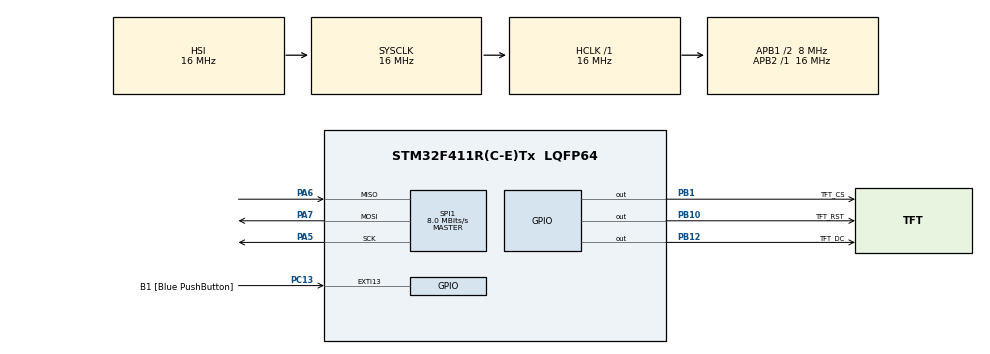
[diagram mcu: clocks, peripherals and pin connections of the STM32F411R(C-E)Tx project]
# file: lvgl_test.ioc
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Mcu.Family=STM32F4
Mcu.Name=STM32F411R(C-E)Tx
Mcu.Package=LQFP64
NVIC.PriorityGroup=NVIC_PRIORITYGROUP_0
PA13.GPIO_Label=TMS
PA13.Mode=Serial_Wire
PA13.Signal=SYS_JTMS-SWDIO
PA14.GPIO_Label=TCK
PA14.Mode=Serial_Wire
PA14.Signal=SYS_JTCK-SWCLK
PA2.GPIO_Label=USART_TX
PA2.Signal=USART2_TX
PA3.GPIO_Label=USART_RX
PA3.Signal=USART2_RX
PA5.Mode=Full_Duplex_Master
PA5.Signal=SPI1_SCK
PA6.Mode=Full_Duplex_Master
PA6.Signal=SPI1_MISO
PA7.Mode=Full_Duplex_Master
PA7.Signal=SPI1_MOSI
PB1.GPIO_Label=TFT_CS
PB1.Signal=GPIO_Output
PB10.GPIO_Label=TFT_RST
PB10.Signal=GPIO_Output
PB12.GPIO_Label=TFT_DC
PB12.Signal=GPIO_Output
PB3.GPIO_Label=SWO
PB3.Signal=SYS_JTDO-SWO
PC13-ANTI_TAMP.GPIO_Label=B1 [Blue PushButton]
PC13-ANTI_TAMP.GPIO_ModeDefaultEXTI=GPIO_MODE_IT_FALLING
PC13-ANTI_TAMP.Signal=GPXTI13
PC14-OSC32_IN.Mode=LSE-External-Oscillator
PC14-OSC32_IN.Signal=RCC_OSC32_IN
PC15-OSC32_OUT.Mode=LSE-External-Oscillator
PC15-OSC32_OUT.Signal=RCC_OSC32_OUT
PH0\ -\ OSC_IN.Mode=HSE-External-Clock-Source
PH0\ -\ OSC_IN.Signal=RCC_OSC_IN
PH1\ -\ OSC_OUT.Mode=HSE-External-Clock-Source
PH1\ -\ OSC_OUT.Signal=RCC_OSC_OUT
ProjectManager.HeapSize=0x200
ProjectManager.StackSize=0x400
ProjectManager.TargetToolchain=MDK-ARM V5.27
RCC.48MHZClocksFreq_Value=168000000
RCC.AHBFreq_Value=16000000
RCC.APB1CLKDivider=RCC_HCLK_DIV2
RCC.APB1Freq_Value=8000000
RCC.APB1TimFreq_Value=16000000
RCC.APB2Freq_Value=16000000
RCC.APB2TimFreq_Value=16000000
RCC.CortexFreq_Value=16000000
RCC.FLatency-AdvancedSettings=FLASH_LATENCY_0
RCC.HCLKFreq_Value=16000000
RCC.HSE_VALUE=8000000
RCC.HSI_VALUE=16000000
RCC.PLLM=4
RCC.PLLN=336
RCC.PLLP=RCC_PLLP_DIV4
RCC.PLLSourceVirtual=RCC_PLLSOURCE_HSE
RCC.SYSCLKFreq_VALUE=16000000
RCC.VCOOutputFreq_Value=672000000
SPI1.BaudRatePrescaler=SPI_BAUDRATEPRESCALER_2
SPI1.CalculateBaudRate=8.0 MBits/s
SPI1.Direction=SPI_DIRECTION_2LINES
SPI1.Mode=SPI_MODE_MASTER
SPI1.VirtualType=VM_MASTER
board=NUCLEO-F411RE

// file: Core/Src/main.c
/* USER CODE BEGIN Header */
/**
  ******************************************************************************
  * @file           : main.c
  * @brief          : Main program body
  ******************************************************************************
  * @attention
  *
  * <h2><center>&copy; Copyright (c) 2021 STMicroelectronics.
  * All rights reserved.</center></h2>
  *
  * This software component is licensed by ST under BSD 3-Clause license,
  * the "License"; You may not use this file except in compliance with the
  * License. You may obtain a copy of the License at:
  *                        opensource.org/licenses/BSD-3-Clause
  *
  ******************************************************************************
  */
/* USER CODE END Header */
#include "main.h"

/* USER CODE BEGIN Includes */
#include "lvgl.h"
//#include "lv_examples.h"
#include "ILI9341_GFX.h"
/* USER CODE END Includes */

/* USER CODE BEGIN PD */
//#define LV_USE_LABEL 1
/*Hor, or ver. scroll speed [px/sec] in 'LV_LABEL_LONG_ROLL/ROLL_CIRC' mode*/

/* USER CODE END PD */

SPI_HandleTypeDef hspi1;

void SystemClock_Config(void);
static void MX_GPIO_Init(void);
static void MX_SPI1_Init(void);

/* USER CODE BEGIN 0 */
static lv_disp_buf_t disp_buf;
static lv_color_t buf[LV_HOR_RES_MAX * LV_VER_RES_MAX / 2];
static lv_obj_t * label;
static void btn_event_cb(lv_obj_t * btn, lv_event_t event)
{
    if(event == LV_EVENT_CLICKED) {}
}

void lv_ex_get_started_1(void)
{
  lv_obj_t * btn = lv_btn_create(lv_scr_act(), NULL); 	/*Add a button the current screen*/
	lv_obj_align(btn, NULL, LV_ALIGN_CENTER, 0, 0);                         /*Set its position*/
  lv_obj_set_size(btn, 120, 50);
	//lv_obj_set_event_cb(btn, btn_event_cb);								/*Assign a callback to the button*/

	lv_obj_t * label = lv_label_create(btn, NULL);
	lv_label_set_text(label, "Button");
	/*
	lv_obj_set_auto_realign(btn, true);
	lv_obj_align(label, btn, LV_ALIGN_CENTER, 0, 0);
	*/
}
static void slider_event_cb(lv_obj_t * slider, lv_event_t event)
{
    if(event == LV_EVENT_VALUE_CHANGED) {
        /*Refresh the text*/
        lv_label_set_text_fmt(label, "%d", lv_slider_get_value(slider));
    }
}

void lv_ex_get_started_3(void)
{
    /* Create a slider in the center of the display */
    lv_obj_t * slider = lv_slider_create(lv_scr_act(), NULL);
    lv_obj_set_width(slider, 200);                        /*Set the width*/
    lv_obj_align(slider, NULL, LV_ALIGN_CENTER, 0, 0);    /*Align to the center of the parent (screen)*/
    //lv_obj_set_event_cb(slider, slider_event_cb);         /*Assign an event function*/

    /* Create a label below the slider */
    label = lv_label_create(lv_scr_act(), NULL);
    lv_label_set_text_fmt(label, "%d", 74);
    lv_obj_set_auto_realign(slider, true);                          /*To keep center alignment when the width of the text changes*/
    lv_obj_align(label, slider, LV_ALIGN_OUT_BOTTOM_MID, 0, 20);    /*Align below the slider*/
}
void my_disp_flush(lv_disp_drv_t * disp, const lv_area_t * area, lv_color_t * color_p)
{
    int32_t x, y;

    for(y = area->y1; y <= area->y2; y++) {
        for(x = area->x1; x <= area->x2; x++) {
            ILI9341_Draw_Pixel(x, y, color_p->full);  // Put a pixel to the display
            color_p++;
        }
    }
    lv_disp_flush_ready(disp);         /* Indicate you are ready with the flushing*/
}

void lv_user_init(void) {
	lv_init();

	lv_disp_buf_init(&disp_buf, buf, NULL, LV_HOR_RES_MAX * LV_VER_RES_MAX / 2);
	lv_disp_drv_t disp_drv;
	lv_disp_drv_init(&disp_drv);
	disp_drv.flush_cb = my_disp_flush;
	disp_drv.buffer = &disp_buf;
	lv_disp_drv_register(&disp_drv);

	lv_ex_get_started_1();

}
/* USER CODE END 0 */

int main(void)
{

  /* MCU Configuration--------------------------------------------------------*/

  /* Reset of all peripherals, Initializes the Flash interface and the Systick. */
  HAL_Init();

  /* Configure the system clock */
  SystemClock_Config();

  /* Initialize all configured peripherals */
  MX_GPIO_Init();
  MX_SPI1_Init();
  /* USER CODE BEGIN 2 */
	__HAL_SPI_ENABLE(DISP_SPI_PTR);
	ILI9341_Init();
  ILI9341_Set_Rotation(SCREEN_HORIZONTAL_2);

	lv_user_init();

  /* Infinite loop */
  /* USER CODE BEGIN WHILE */
  while (1)
  {
		lv_task_handler();
		HAL_Delay(5);

    /* USER CODE END WHILE */

  }
}

void SystemClock_Config(void)
{
  RCC_OscInitTypeDef RCC_OscInitStruct = {0};
  RCC_ClkInitTypeDef RCC_ClkInitStruct = {0};

  /** Configure the main internal regulator output voltage
  */
  __HAL_RCC_PWR_CLK_ENABLE();
  __HAL_PWR_VOLTAGESCALING_CONFIG(PWR_REGULATOR_VOLTAGE_SCALE1);
  /** Initializes the RCC Oscillators according to the specified parameters
  * in the RCC_OscInitTypeDef structure.
  */
  RCC_OscInitStruct.OscillatorType = RCC_OSCILLATORTYPE_HSI;
  RCC_OscInitStruct.HSIState = RCC_HSI_ON;
  RCC_OscInitStruct.HSICalibrationValue = RCC_HSICALIBRATION_DEFAULT;
  RCC_OscInitStruct.PLL.PLLState = RCC_PLL_NONE;
  if (HAL_RCC_OscConfig(&RCC_OscInitStruct) != HAL_OK)
  {
    Error_Handler();
  }
  /** Initializes the CPU, AHB and APB buses clocks
  */
  RCC_ClkInitStruct.ClockType = RCC_CLOCKTYPE_HCLK|RCC_CLOCKTYPE_SYSCLK
                              |RCC_CLOCKTYPE_PCLK1|RCC_CLOCKTYPE_PCLK2;
  RCC_ClkInitStruct.SYSCLKSource = RCC_SYSCLKSOURCE_HSI;
  RCC_ClkInitStruct.AHBCLKDivider = RCC_SYSCLK_DIV1;
  RCC_ClkInitStruct.APB1CLKDivider = RCC_HCLK_DIV2;
  RCC_ClkInitStruct.APB2CLKDivider = RCC_HCLK_DIV1;

  if (HAL_RCC_ClockConfig(&RCC_ClkInitStruct, FLASH_LATENCY_0) != HAL_OK)
  {
    Error_Handler();
  }
}

static void MX_SPI1_Init(void)
{

  /* SPI1 parameter configuration*/
  hspi1.Instance = SPI1;
  hspi1.Init.Mode = SPI_MODE_MASTER;
  hspi1.Init.Direction = SPI_DIRECTION_2LINES;
  hspi1.Init.DataSize = SPI_DATASIZE_8BIT;
  hspi1.Init.CLKPolarity = SPI_POLARITY_LOW;
  hspi1.Init.CLKPhase = SPI_PHASE_1EDGE;
  hspi1.Init.NSS = SPI_NSS_SOFT;
  hspi1.Init.BaudRatePrescaler = SPI_BAUDRATEPRESCALER_2;
  hspi1.Init.FirstBit = SPI_FIRSTBIT_MSB;
  hspi1.Init.TIMode = SPI_TIMODE_DISABLE;
  hspi1.Init.CRCCalculation = SPI_CRCCALCULATION_DISABLE;
  hspi1.Init.CRCPolynomial = 10;
  if (HAL_SPI_Init(&hspi1) != HAL_OK)
  {
    Error_Handler();
  }

}

static void MX_GPIO_Init(void)
{
  GPIO_InitTypeDef GPIO_InitStruct = {0};

  /* GPIO Ports Clock Enable */
  __HAL_RCC_GPIOC_CLK_ENABLE();
  __HAL_RCC_GPIOH_CLK_ENABLE();
  __HAL_RCC_GPIOA_CLK_ENABLE();
  __HAL_RCC_GPIOB_CLK_ENABLE();

  /*Configure GPIO pin Output Level */
  HAL_GPIO_WritePin(GPIOB, TFT_CS_Pin|TFT_RST_Pin|TFT_DC_Pin, GPIO_PIN_RESET);

  /*Configure GPIO pin : B1_Pin */
  GPIO_InitStruct.Pin = B1_Pin;
  GPIO_InitStruct.Mode = GPIO_MODE_IT_FALLING;
  GPIO_InitStruct.Pull = GPIO_NOPULL;
  HAL_GPIO_Init(B1_GPIO_Port, &GPIO_InitStruct);

  /*Configure GPIO pins : USART_TX_Pin USART_RX_Pin */
  GPIO_InitStruct.Pin = USART_TX_Pin|USART_RX_Pin;
  GPIO_InitStruct.Mode = GPIO_MODE_AF_PP;
  GPIO_InitStruct.Pull = GPIO_NOPULL;
  GPIO_InitStruct.Speed = GPIO_SPEED_FREQ_VERY_HIGH;
  GPIO_InitStruct.Alternate = GPIO_AF7_USART2;
  HAL_GPIO_Init(GPIOA, &GPIO_InitStruct);

  /*Configure GPIO pins : TFT_CS_Pin TFT_RST_Pin TFT_DC_Pin */
  GPIO_InitStruct.Pin = TFT_CS_Pin|TFT_RST_Pin|TFT_DC_Pin;
  GPIO_InitStruct.Mode = GPIO_MODE_OUTPUT_PP;
  GPIO_InitStruct.Pull = GPIO_NOPULL;
  GPIO_InitStruct.Speed = GPIO_SPEED_FREQ_LOW;
  HAL_GPIO_Init(GPIOB, &GPIO_InitStruct);

}

void Error_Handler(void)
{
}

/************************ (C) COPYRIGHT STMicroelectronics *****END OF FILE****/
